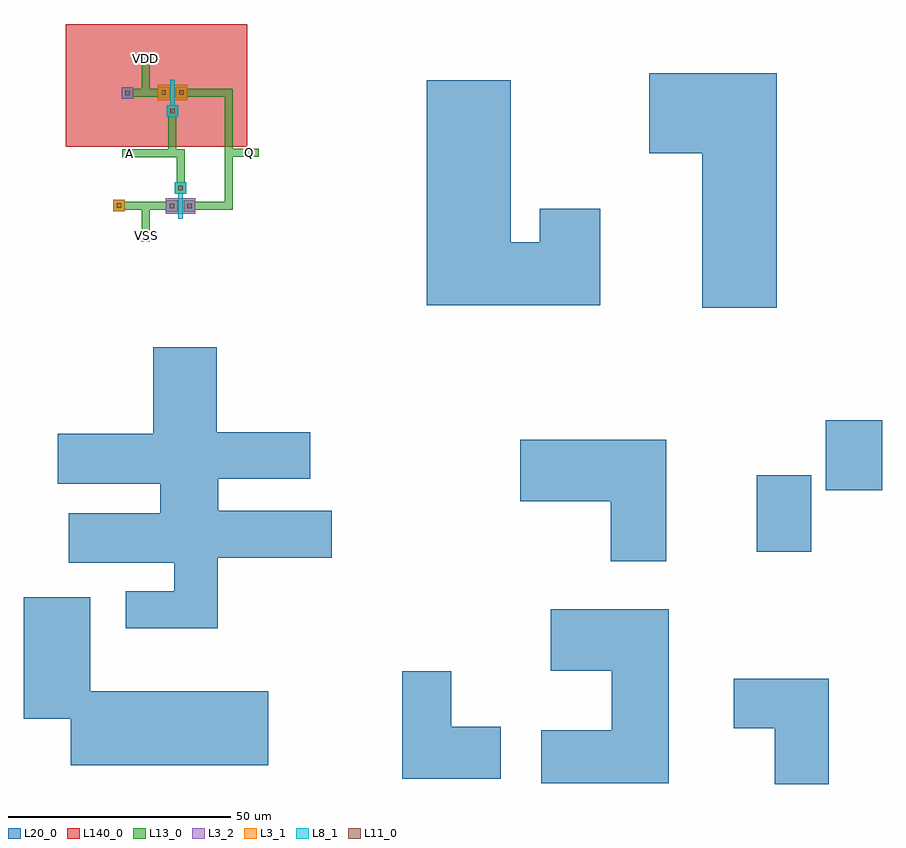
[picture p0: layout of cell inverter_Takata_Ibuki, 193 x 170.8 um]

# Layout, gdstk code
from math import pi, radians
import gdstk
lib = gdstk.Library(unit=1e-6, precision=1e-07)
def R(c, l, rs):  # rectangles x0, y0, x1, y1
    for r in rs: c.add(gdstk.rectangle(r[:2], r[2:], *l))
def P(c, l, *ps):  # polygons
    for p in ps: c.add(gdstk.Polygon(p, *l))
L3_1 = (3, 1)
L3_2 = (3, 2)
L8_1 = (8, 1)
L11_0 = (11, 0)
L13_0 = (13, 0)
L20_0 = (20, 0)
L140_0 = (140, 0)

cont_g = lib.new_cell('cont_g')
R(cont_g, L8_1, [(-1.3,-1.3,1.3,1.3)])
R(cont_g, L11_0, [(-0.5,-0.5,0.5,0.5)])
R(cont_g, L13_0, [(-1.3,-1.3,1.3,1.3)])

cont_n = lib.new_cell('cont_n')
R(cont_n, L3_2, [(-1.3,-1.3,1.3,1.3)])
R(cont_n, L11_0, [(-0.5,-0.5,0.5,0.5)])
R(cont_n, L13_0, [(-1.3,-1.3,1.3,1.3)])

fet_p = lib.new_cell('fet_p')
R(fet_p, L3_1, [(-3.3,-1.7,3.3,1.7)])
R(fet_p, L11_0, [(-2.5,-0.5,-1.5,0.5), (1.5,-0.5,2.5,0.5)])
R(fet_p, L13_0, [(-3.3,-1.3,-0.7,1.3), (0.7,-1.3,3.3,1.3)])
fet_p.add(gdstk.FlexPath([(0,-2.9),(0,2.9)], 1, ends="flush", simple_path=True, layer=8, datatype=1))  # L8_1

cont_p = lib.new_cell('cont_p')
R(cont_p, L3_1, [(-1.3,-1.3,1.3,1.3)])
R(cont_p, L11_0, [(-0.5,-0.5,0.5,0.5)])
R(cont_p, L13_0, [(-1.3,-1.3,1.3,1.3)])

fet_n = lib.new_cell('fet_n')
R(fet_n, L3_2, [(-3.3,-1.7,3.3,1.7)])
R(fet_n, L11_0, [(-2.5,-0.5,-1.5,0.5), (1.5,-0.5,2.5,0.5)])
R(fet_n, L13_0, [(-3.3,-1.3,-0.7,1.3), (0.7,-1.3,3.3,1.3)])
fet_n.add(gdstk.FlexPath([(0,-2.9),(0,2.9)], 1, ends="flush", simple_path=True, layer=8, datatype=1))  # L8_1

inverter_takata_ibuki = lib.new_cell('inverter_Takata_Ibuki')
P(inverter_takata_ibuki, L11_0, [(-29.1,107.2),(-29.1,107.2),(-29.1,107.2),(-29.1,107.2)],
  [(-29.1,107.2),(-29.1,107.2),(-29.1,107.2),(-29.1,107.2)])
R(inverter_takata_ibuki, L20_0, [(86.3,-5.6,98.5,11.6), (101.8,8.2,114.5,24)])
P(inverter_takata_ibuki, L20_0, [(37.8,-57.6),(37.8,-45.7),(53.7,-45.7),(53.7,-32.4),(40,-32.4),(40,-18.5),(66.5,-18.5),(66.5,-57.6)],
  [(6.6,-56.6),(6.6,-32.5),(17.6,-32.5),(17.6,-44.9),(28.7,-44.9),(28.7,-56.6)],
  [(90.3,-57.8),(90.3,-45.3),(81.1,-45.3),(81.1,-34.2),(102.5,-34.2),(102.5,-57.8)],
  [(12.1,49.8),(12.1,100.4),(31,100.4),(31,63.9),(37.5,63.9),(37.5,71.5),(51.1,71.5),(51.1,49.8)],
  [(-55.6,-22.8),(-55.6,-14.5),(-44.7,-14.5),(-44.7,-8.1),(-68.3,-8.1),(-68.3,3),(-47.8,3),(-47.8,9.7),(-70.8,9.7),(-70.8,20.9),(-49.4,20.9),(-49.4,40.3),(-35.1,40.3),(-35.1,21.2),(-14.1,21.2),(-14.1,10.8),(-34.8,10.8),(-34.8,3.6),(-9.3,3.6),(-9.3,-6.9),(-34.9,-6.9),(-34.9,-22.8)],
  [(-67.9,-53.6),(-67.9,-43.1),(-78.5,-43.1),(-78.5,-15.8),(-63.5,-15.8),(-63.5,-36.9),(-23.5,-36.9),(-23.5,-53.6)],
  [(74,49.2),(74,83.9),(62.1,83.9),(62.1,101.9),(90.8,101.9),(90.8,49.2)],
  [(53.4,-7.7),(53.4,5.8),(33.1,5.8),(33.1,19.6),(65.9,19.6),(65.9,-7.7)],
  [(53.4,-7.7),(53.4,5.8),(33.1,5.8),(33.1,19.6),(65.9,19.6),(65.9,-7.7)],
  [(53.4,-7.7),(53.4,5.8),(33.1,5.8),(33.1,19.6),(65.9,19.6),(65.9,-7.7)])
R(inverter_takata_ibuki, L140_0, [(-69,85.4,-28.2,113)])
P(inverter_takata_ibuki, L140_0, [(-46.3,80.5),(-46.3,80.5),(-46.3,80.5),(-46.3,80.5)])
inverter_takata_ibuki.add(gdstk.FlexPath([(-45.1,93.2),(-45.1,83.9),(-43.2,83.9),(-43.2,75.3)], 1.8, ends="flush", simple_path=True, layer=13, datatype=0))  # L13_0
inverter_takata_ibuki.add(gdstk.FlexPath([(-42.7,97.6),(-32.4,97.6),(-32.4,72.1),(-41,72.1),(-41,72.1)], 1.8, ends="flush", simple_path=True, layer=13, datatype=0))  # L13_0
inverter_takata_ibuki.add(gdstk.FlexPath([(-45.2,72.2),(-51.1,72.2),(-51.1,64.1)], 1.8, ends="flush", simple_path=True, layer=13, datatype=0))  # L13_0
inverter_takata_ibuki.add(gdstk.FlexPath([(-56.8,72.1),(-51.3,72.1)], 1.8, ends="flush", simple_path=True, layer=13, datatype=0))  # L13_0
inverter_takata_ibuki.add(gdstk.FlexPath([(-47.4,97.5),(-51.1,97.5),(-51.1,106.3)], 1.8, ends="flush", simple_path=True, layer=13, datatype=0))  # L13_0
inverter_takata_ibuki.add(gdstk.FlexPath([(-54.8,97.5),(-50.2,97.5)], 1.8, ends="flush", simple_path=True, layer=13, datatype=0))  # L13_0
inverter_takata_ibuki.add(gdstk.FlexPath([(-44.3,83.9),(-56.3,83.9)], 1.8, ends="flush", simple_path=True, layer=13, datatype=0))  # L13_0
inverter_takata_ibuki.add(gdstk.FlexPath([(-32,84.1),(-25.7,84.1)], 1.8, ends="flush", simple_path=True, layer=13, datatype=0))  # L13_0
inverter_takata_ibuki.add(gdstk.Reference(cont_g, (-45,93.4)))
inverter_takata_ibuki.add(gdstk.Reference(cont_n, (-55.2,97.5), rotation=pi/2))
inverter_takata_ibuki.add(gdstk.Reference(fet_p, (-45,97.6), rotation=pi))
inverter_takata_ibuki.add(gdstk.Reference(cont_p, (-57.1,72.2), rotation=pi))
inverter_takata_ibuki.add(gdstk.Reference(fet_n, (-43.2,72.1), rotation=pi))
inverter_takata_ibuki.add(gdstk.Reference(cont_g, (-43.2,76.1), rotation=pi))
inverter_takata_ibuki.add(gdstk.Label('A', (-54.6,84), layer=48, texttype=0))
inverter_takata_ibuki.add(gdstk.Label('VDD', (-51.1,105.2), layer=48, texttype=0))
inverter_takata_ibuki.add(gdstk.Label('Q', (-27.7,84.1), layer=48, texttype=0))
inverter_takata_ibuki.add(gdstk.Label('VSS', (-50.9,65.5), layer=48, texttype=0))

lib.write_gds('inverter_Takata_Ibuki.gds')
